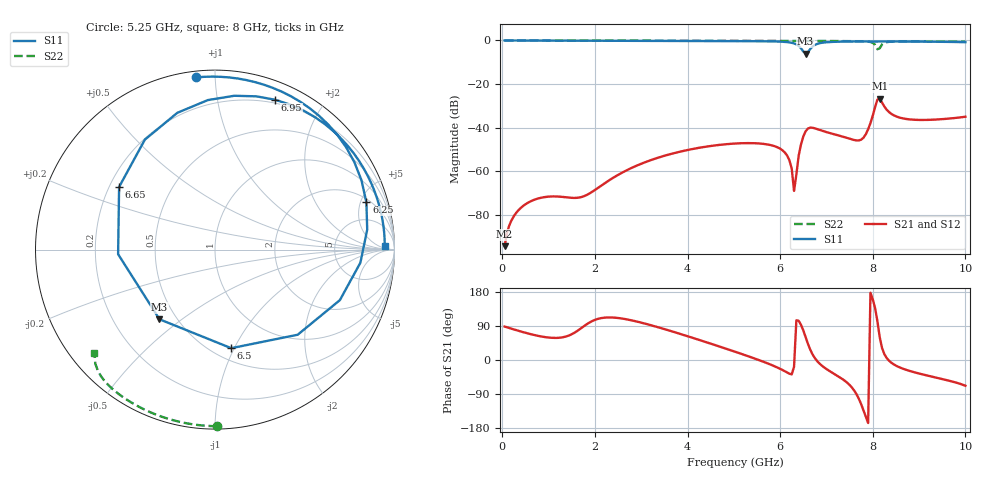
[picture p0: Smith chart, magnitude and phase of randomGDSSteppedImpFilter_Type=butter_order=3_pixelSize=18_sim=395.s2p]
! freq	dB(S11)	phase(S11)	dB(S12)	phase(S12)
!  dB(S21)	phase(S21)	dB(S22)	phase(S22)
!S-par simulation data
#  GHz  S  DB  R 50
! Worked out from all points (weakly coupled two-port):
!   200 points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, 50 MHz to 10 GHz, reference 50 ohm
!   highest |S21| = -26.67 dB at 8.15 GHz (marker M1); lowest = -94.4 dB at 50 MHz (marker M2)
!   lowest |S11| = -6.1 dB at 6.55 GHz (marker M3), VSWR 2.97, Z = 20.2 - j20.8 ohm
!   |S11| at or under -10 dB: nowhere
!   |S22| runs from -4.0 to 0.0 dB; largest |S21 - S12| = 0
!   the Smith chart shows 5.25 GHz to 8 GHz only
!   S11 on the Smith chart (normalised r, x): 5.25 GHz: 0.03, +0.90; 6.25 GHz: 2.34, +5.61; 6.5 GHz: 0.61, -0.97; 6.65 GHz: 0.24, +0.28; 6.95 GHz: 0.17, +1.46; 8 GHz: 32, +12
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0.05  -0.00 -2.9  -94.41 88.2  -94.41 88.2  -0.00 -0.9
0.95  -0.07 -54.1  -71.77 59.9  -71.77 59.9  -0.02 -17.3
1.75  -0.12 -96.6  -71.58 88.1  -71.58 88.1  -0.04 -31.5
2.65  -0.16 -140.5  -59.97 108.1  -59.97 108.1  -0.06 -47.2
3.4  -0.19 -175.3  -53.56 85.2  -53.56 85.2  -0.08 -59.8
4.2  -0.23 147.8  -49.45 55.0  -49.45 55.0  -0.10 -72.8
5.05  -0.29 106.6  -47.27 20.9  -47.27 20.9  -0.13 -86.2
5.25  -0.31 96.2  -47.12 12.5  -47.12 12.5  -0.14 -89.3
6  -0.54 47.9  -49.67 -23.3  -49.67 -23.3  -0.18 -100.7
6.25  -1.07 17.3  -58.81 -38.1  -58.81 -38.1  -0.19 -104.4
6.3  -1.36 7.5  -69.04 -17.8  -69.04 -17.8  -0.19 -105.2
6.4  -2.49 -22.0  -52.87 103.4  -52.87 103.4  -0.20 -106.7
6.5  -5.09 -80.6  -44.07 78.1  -44.07 78.1  -0.20 -108.2
6.55  -6.08 -128.5  -41.68 60.5  -41.68 60.5  -0.21 -108.9
6.65  -3.90 146.8  -40.00 27.2  -40.00 27.2  -0.21 -110.5
6.7  -2.77 122.5  -40.06 14.7  -40.06 14.7  -0.22 -111.2
6.95  -0.92 68.2  -41.74 -19.6  -41.74 -19.6  -0.24 -115.0
7.7  -0.47 15.2  -45.88 -102.6  -45.88 -102.6  -0.35 -128.1
8  -0.48 1.2  -34.47 160.0  -34.47 160.0  -1.07 -139.5
8.15  -0.48 -4.9  -26.67 60.2  -26.67 60.2  -3.59 -120.0
8.35  -0.46 -13.3  -32.85 -1.7  -32.85 -1.7  -0.64 -126.9
10  -0.80 -70.6  -35.02 -68.0  -35.02 -68.0  -0.55 -155.7
